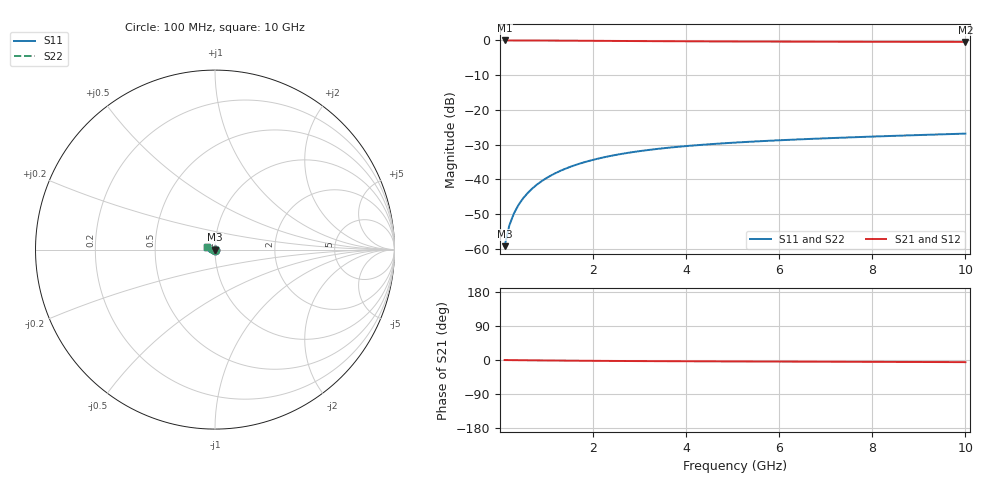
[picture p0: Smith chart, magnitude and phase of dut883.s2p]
! Touchstone file exported from HFSS 2024.1.0
!  File:  C:/UserFiles/LocalFiles/RDL_TSV_Batchsim/temp_TSV1_883_1779883926.aedt
!  Generated:  08:21:29 PM May 27, 2026
!  Design:  TSV1
!  Project:  temp_TSV1_883_1779883926
!  Setup:  Setup1
!  Solution:  Sweep
! Variables:
!  dtsv = 8.72um
!  hbump = 3um
!  htsv = 86.5um
!  lrdl = 252.1521522um
!  p = 40
!  p1 = 54.16um
!  t = 500um
!  trdl = 3um
!  wrdl = 24.89489489um
# GHz S MA R 50.000000
! Terminal data exported
! Port[1] = TSV22_T1
! Port[2] = TSV22_T2
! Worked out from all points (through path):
!   100 points, 100 MHz to 10 GHz, reference 50 ohm
!   highest |S21| = 0.00 dB at 100 MHz (marker M1); lowest = -0.4 dB at 10 GHz (marker M2)
!   lowest |S11| = -59.3 dB at 100 MHz (marker M3), VSWR 1.00, Z = 50 - j0.107 ohm
!   |S11| at or under -10 dB: start of sweep to end of sweep
!   |S22| runs from -59.3 to -26.9 dB; largest |S21 - S12| = 5.2e-15
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0.1  0.001085 -81.4  0.9998 -0.1  0.9998 -0.1  0.001085 -81.4
! Gamma 0 0 0 0
! Port Impedance 50 0 50 0
0.2  0.002147 -88.5  0.9996 -0.3  0.9996 -0.3  0.002147 -88.5
0.3  0.003215 -92.2  0.9994 -0.4  0.9994 -0.4  0.003215 -92.2
0.4  0.004279 -95.1  0.9992 -0.5  0.9992 -0.5  0.004279 -95.1
0.5  0.005334 -97.7  0.9988 -0.6  0.9988 -0.6  0.005334 -97.7
0.6  0.006379 -100.0  0.9984 -0.8  0.9984 -0.8  0.006379 -100.0
0.7  0.00741 -102.3  0.9979 -0.9  0.9979 -0.9  0.00741 -102.3
0.8  0.008426 -104.4  0.9974 -1.0  0.9974 -1.0  0.008426 -104.4
0.9  0.009426 -106.5  0.9968 -1.1  0.9968 -1.1  0.009426 -106.5
1.1  0.01137 -110.5  0.9955 -1.3  0.9955 -1.3  0.01137 -110.5
1.4  0.01413 -116.3  0.9932 -1.6  0.9932 -1.6  0.01413 -116.3
1.6  0.01585 -119.9  0.9916 -1.8  0.9916 -1.8  0.01585 -119.9
1.8  0.01749 -123.5  0.9898 -2.0  0.9898 -2.0  0.01749 -123.5
2.1  0.01976 -128.5  0.9872 -2.2  0.9872 -2.2  0.01976 -128.5
2.5  0.02248 -134.7  0.9836 -2.5  0.9836 -2.5  0.02248 -134.7
2.9  0.02486 -140.5  0.9802 -2.8  0.9802 -2.8  0.02486 -140.5
3.4  0.02744 -147.0  0.9763 -3.1  0.9763 -3.1  0.02744 -147.0
4.2  0.03082 -156.3  0.971 -3.4  0.971 -3.4  0.03082 -156.3
5.1  0.03388 -165.2  0.9662 -3.8  0.9662 -3.8  0.03388 -165.2
6.7  0.03819 -178.2  0.9601 -4.4  0.9601 -4.4  0.03819 -178.2
8.4  0.04204 170.7  0.9559 -5.0  0.9559 -5.0  0.04204 170.7
10  0.04544 162.0  0.9532 -5.6  0.9532 -5.6  0.04544 162.0
